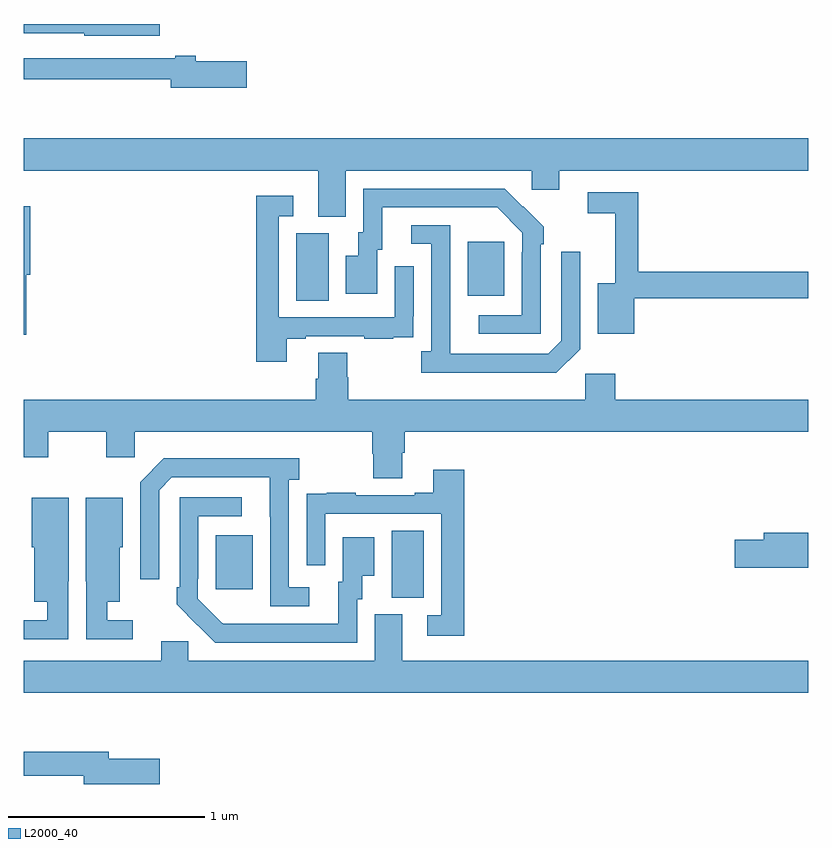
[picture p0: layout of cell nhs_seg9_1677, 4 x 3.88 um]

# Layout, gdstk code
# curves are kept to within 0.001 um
import gdstk
lib = gdstk.Library(unit=1e-6, precision=1e-09)
def R(c, l, rs):  # rectangles x0, y0, x1, y1
    for r in rs: c.add(gdstk.rectangle(r[:2], r[2:], *l))
def P(c, l, *ps):  # polygons
    for p in ps: c.add(gdstk.Polygon(p, *l))
L2000_40 = (2000, 40)

nhs_seg9_1677 = lib.new_cell('nhs_seg9_1677')
R(nhs_seg9_1677, L2000_40, [(206.876,1195.573,207.04,1195.916), (205.979,1195.617,206.167,1195.891), (206.39,1197.088,206.554,1197.432), (207.263,1197.113,207.451,1197.388)])
P(nhs_seg9_1677, L2000_40, [(205.693,1198.5),(205,1198.5),(205,1198.452),(205.308,1198.452),(205.308,1198.439),(205.693,1198.439)],
  [(206.137,1198.31),(205.876,1198.31),(205.876,1198.339),(205.772,1198.339),(205.772,1198.326),(205,1198.326),(205,1198.218),(205.748,1198.218),(205.748,1198.175),(206.137,1198.175)],
  [(206.641,1197.752),(207.591,1197.752),(207.591,1197.654),(207.73,1197.654),(207.73,1197.752),(209,1197.752),(209,1197.916),(205,1197.916),(205,1197.752),(206.501,1197.752),(206.501,1197.517),(206.641,1197.517)],
  [(207.636,1197.377),(207.651,1197.377),(207.651,1197.465),(207.454,1197.66),(206.73,1197.66),(206.73,1197.438),(206.705,1197.438),(206.705,1197.319),(206.642,1197.319),(206.642,1197.123),(206.803,1197.123),(206.803,1197.348),(206.827,1197.348),(206.827,1197.564),(207.415,1197.564),(207.543,1197.435),(207.543,1197.335),(207.54,1197.335),(207.54,1197.015),(207.321,1197.015),(207.321,1196.919),(207.636,1196.919)],
  [(208.113,1197.1),(209,1197.1),(209,1197.236),(208.133,1197.236),(208.133,1197.642),(207.876,1197.642),(207.876,1197.534),(208.016,1197.534),(208.016,1197.178),(207.926,1197.178),(207.926,1196.921),(208.113,1196.921)],
  [(206.341,1196.895),(206.437,1196.895),(206.437,1196.907),(206.737,1196.907),(206.737,1196.895),(206.885,1196.895),(206.885,1196.901),(206.987,1196.901),(206.987,1197.01),(206.988,1197.01),(206.988,1197.265),(206.892,1197.265),(206.892,1197.003),(206.301,1197.003),(206.301,1197.519),(206.374,1197.519),(206.374,1197.625),(206.185,1197.625),(206.185,1196.778),(206.341,1196.778)],
  [(205.013,1197.222),(205.031,1197.222),(205.031,1197.571),(205,1197.571),(205,1196.916),(205.013,1196.916)],
  [(207.837,1196.841),(207.837,1197.337),(207.741,1197.337),(207.741,1196.883),(207.675,1196.817),(207.175,1196.817),(207.174,1197.474),(206.976,1197.474),(206.976,1197.378),(207.078,1197.378),(207.078,1196.83),(207.027,1196.83),(207.027,1196.72),(207.716,1196.72)],
  [(206.929,1196.314),(206.942,1196.314),(206.942,1196.42),(209,1196.42),(209,1196.584),(208.016,1196.584),(208.016,1196.716),(207.864,1196.716),(207.864,1196.584),(206.654,1196.584),(206.654,1196.697),(206.649,1196.697),(206.649,1196.822),(206.501,1196.822),(206.501,1196.69),(206.489,1196.69),(206.489,1196.584),(205,1196.584),(205,1196.289),(205.125,1196.289),(205.125,1196.42),(205.42,1196.42),(205.42,1196.289),(205.566,1196.289),(205.566,1196.42),(206.777,1196.42),(206.777,1196.307),(206.782,1196.307),(206.782,1196.182),(206.929,1196.182)],
  [(206.455,1195.626),(206.352,1195.626),(206.352,1196.174),(206.404,1196.174),(206.404,1196.284),(205.714,1196.284),(205.593,1196.163),(205.593,1195.668),(205.689,1195.668),(205.689,1196.121),(205.755,1196.187),(206.255,1196.187),(206.256,1195.53),(206.455,1195.53)],
  [(207.245,1196.227),(207.089,1196.227),(207.089,1196.11),(206.993,1196.11),(206.993,1196.097),(206.693,1196.097),(206.693,1196.11),(206.545,1196.11),(206.545,1196.103),(206.443,1196.103),(206.443,1195.994),(206.442,1195.994),(206.442,1195.74),(206.538,1195.74),(206.538,1196.001),(207.129,1196.001),(207.129,1195.485),(207.057,1195.485),(207.057,1195.38),(207.245,1195.38)],
  [(206.7,1195.566),(206.725,1195.566),(206.725,1195.685),(206.788,1195.685),(206.788,1195.882),(206.627,1195.882),(206.627,1195.656),(206.603,1195.656),(206.603,1195.44),(206.016,1195.441),(205.887,1195.569),(205.887,1195.669),(205.89,1195.669),(205.89,1195.989),(206.11,1195.989),(206.11,1196.085),(205.794,1196.085),(205.794,1195.627),(205.779,1195.627),(205.779,1195.539),(205.976,1195.344),(206.7,1195.344)],
  [(205.555,1195.458),(205.426,1195.458),(205.426,1195.553),(205.489,1195.553),(205.489,1195.83),(205.504,1195.83),(205.504,1196.083),(205.316,1196.083),(205.316,1195.657),(205.317,1195.657),(205.317,1195.362),(205.555,1195.362)],
  [(205.227,1195.657),(205.228,1195.657),(205.228,1196.083),(205.04,1196.083),(205.04,1195.83),(205.052,1195.83),(205.052,1195.553),(205.119,1195.553),(205.119,1195.458),(205,1195.458),(205,1195.362),(205.227,1195.362)],
  [(209,1195.904),(208.775,1195.904),(208.775,1195.868),(208.626,1195.868),(208.626,1195.726),(209,1195.726)],
  [(209,1195.252),(206.929,1195.252),(206.929,1195.488),(206.789,1195.488),(206.789,1195.252),(205.839,1195.252),(205.839,1195.35),(205.7,1195.35),(205.7,1195.252),(205,1195.252),(205,1195.088),(209,1195.088)],
  [(205.693,1194.753),(205.432,1194.753),(205.432,1194.787),(205,1194.787),(205,1194.666),(205.304,1194.666),(205.304,1194.623),(205.693,1194.623)])

lib.write_gds('nhs_seg9_1677.gds')
